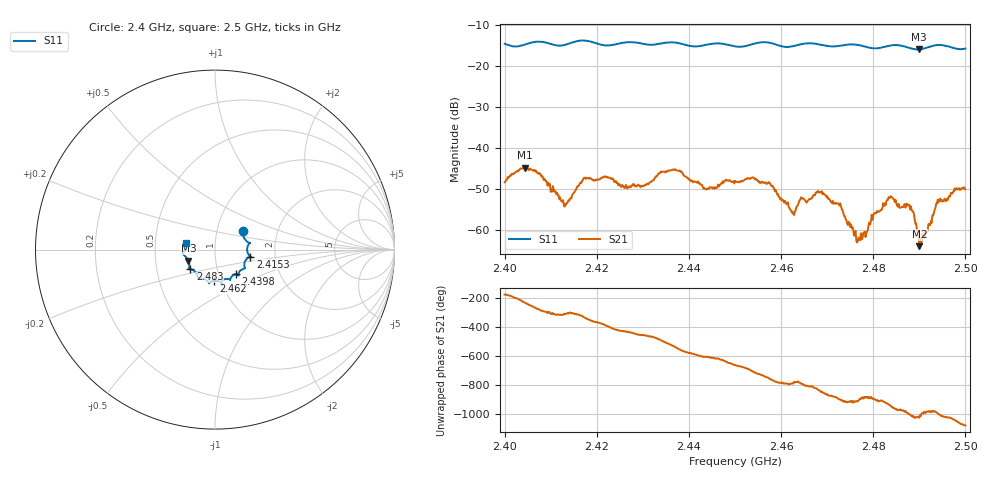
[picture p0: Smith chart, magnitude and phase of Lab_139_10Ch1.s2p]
# Hz S RI R 50
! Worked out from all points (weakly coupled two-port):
!   601 points, 2.4 GHz to 2.5 GHz, reference 50 ohm
!   highest |S21| = -44.72 dB at 2.4043 GHz (marker M1); lowest = -63.9 dB at 2.49 GHz (marker M2)
!   lowest |S11| = -15.9 dB at 2.4898 GHz (marker M3), VSWR 1.38, Z = 36.8 - j4.64 ohm
!   |S11| at or under -10 dB: start of sweep to end of sweep
!   S12 and S22 are empty: the file has one direction only
!   S11 on the Smith chart (normalised r, x): 2.4 GHz: 1.33, +0.29; 2.4153 GHz: 1.48, -0.12; 2.4398 GHz: 1.21, -0.34; 2.462 GHz: 0.93, -0.33; 2.483 GHz: 0.74, -0.17; 2.5 GHz: 0.72, +0.06
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2.4e9  0.155 0.1064  -0.00384 -0.000292  0 0  0 0
2.404333e9  0.178 0.0448  -0.00374 0.00444  0 0  0 0
2.412833e9  0.1806 -0.0125  0.00147 0.0015  0 0  0 0
2.415333e9  0.1962 -0.0387  0.00189 0.0024  0 0  0 0
2.416667e9  0.2019 -0.0427  0.00289 0.00243  0 0  0 0
2.429833e9  0.1549 -0.109  -0.00024 -0.00347  0 0  0 0
2.433333e9  0.1312 -0.1338  -0.0025 -0.00418  0 0  0 0
2.439833e9  0.1154 -0.1366  -0.00336 0.00256  0 0  0 0
2.443667e9  0.0867 -0.1608  -0.00133 0.00285  0 0  0 0
2.45e9  0.0648 -0.1628  0.00207 0.00343  0 0  0 0
2.457667e9  0.0378 -0.1893  0.00291 -0.00224  0 0  0 0
2.462e9  -0.00522 -0.1734  0.00057 -0.00169  0 0  0 0
2.466667e9  -0.0343 -0.1875  2.5e-05 -0.00245  0 0  0 0
2.4725e9  -0.0748 -0.1606  -0.0021 -0.000184  0 0  0 0
2.476833e9  -0.0958 -0.1542  -0.00081 7.98e-05  0 0  0 0
2.483e9  -0.1375 -0.1095  -0.00213 0.000981  0 0  0 0
2.483333e9  -0.14 -0.1092  -0.00214 0.00137  0 0  0 0
2.487833e9  -0.1426 -0.0884  0.000276 0.00203  0 0  0 0
2.489833e9  -0.1484 -0.0614  0.00048 0.000813  0 0  0 0
2.49e9  -0.1497 -0.059  0.000354 0.000532  0 0  0 0
2.494167e9  -0.1805 -0.0225  0.000351 0.00215  0 0  0 0
2.5e9  -0.1599 0.039  0.00316 0.000195  0 0  0 0
